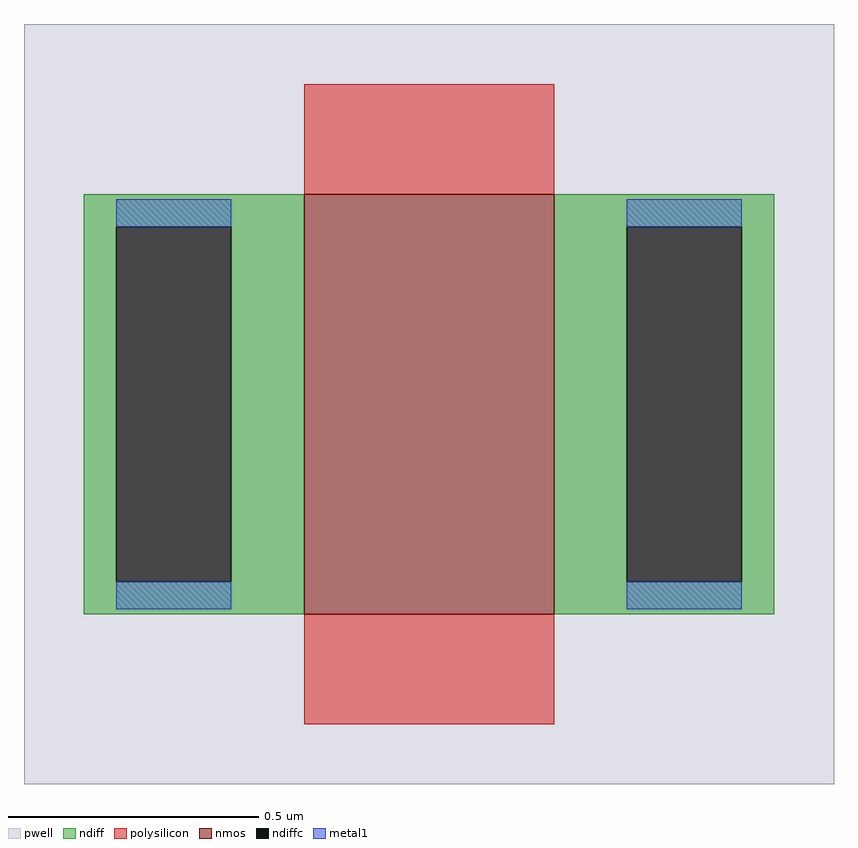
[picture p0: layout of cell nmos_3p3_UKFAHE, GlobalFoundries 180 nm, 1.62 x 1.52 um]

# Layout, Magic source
magic
tech gf180mcuC
magscale 1 10
<< pwell >>
rect -162 -152 162 152
<< nmos >>
rect -50 -84 50 84
<< ndiff >>
rect -138 71 -50 84
rect -138 -71 -125 71
rect -79 -71 -50 71
rect -138 -84 -50 -71
rect 50 71 138 84
rect 50 -71 79 71
rect 125 -71 138 71
rect 50 -84 138 -71
<< ndiffc >>
rect -125 -71 -79 71
rect 79 -71 125 71
<< polysilicon >>
rect -50 84 50 128
rect -50 -128 50 -84
<< metal1 >>
rect -125 71 -79 82
rect -125 -82 -79 -71
rect 79 71 125 82
rect 79 -82 125 -71
<< properties >>
string gencell nmos_3p3
string library gf180mcu
string parameters w 0.84 l 0.5 m 1 nf 1 diffcov 100 polycov 100 guard 0 glc 0 grc 0 gtc 0 gbc 0 tbcov 100 rlcov 100 topc 0 botc 0 poverlap 0 doverlap 1 lmin 0.28 wmin 0.22 full_metal 0 compatible {nmos_3p3 nmos_6p0 nmos_6p0_nat}
<< end >>
